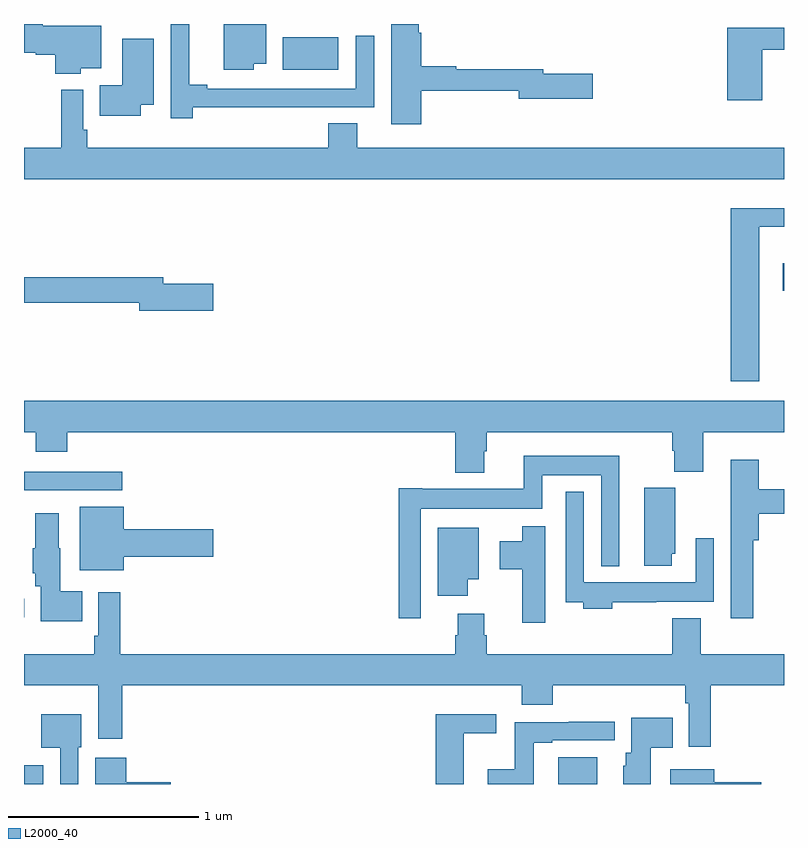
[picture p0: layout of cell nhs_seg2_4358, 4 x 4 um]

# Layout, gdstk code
import gdstk
lib = gdstk.Library(unit=1e-6, precision=1e-09)
def R(c, l, rs):  # rectangles x0, y0, x1, y1
    for r in rs: c.add(gdstk.rectangle(r[:2], r[2:], *l))
def P(c, l, *ps):  # polygons
    for p in ps: c.add(gdstk.Polygon(p, *l))
L2000_40 = (2000, 40)

nhs_seg2_4358 = lib.new_cell('nhs_seg2_4358')
R(nhs_seg2_4358, L2000_40, [(347,629.8,347.101,629.899), (349.811,629.8,350.017,629.941), (347,630.677,347.002,630.774), (347,631.347,347.518,631.443), (350.994,632.395,351,632.542), (348.362,633.56,348.655,633.73)])
P(nhs_seg2_4358, L2000_40, [(347.888,633.362),(348.518,633.362),(348.518,633.363),(348.843,633.363),(348.843,633.739),(348.747,633.739),(348.747,633.459),(347.965,633.459),(347.965,633.479),(347.87,633.479),(347.87,633.8),(347.772,633.8),(347.772,633.303),(347.888,633.303)],
  [(348.208,633.59),(348.274,633.59),(348.274,633.8),(348.05,633.8),(348.05,633.56),(348.208,633.56)],
  [(347.298,633.566),(347.407,633.566),(347.407,633.79),(347.098,633.79),(347.098,633.8),(347,633.8),(347,633.65),(347.063,633.65),(347.063,633.638),(347.165,633.638),(347.165,633.539),(347.298,633.539)],
  [(349.091,633.45),(349.604,633.45),(349.604,633.407),(349.993,633.407),(349.993,633.537),(349.732,633.537),(349.732,633.563),(349.274,633.563),(349.274,633.578),(349.091,633.578),(349.091,633.755),(349.078,633.755),(349.078,633.8),(348.932,633.8),(348.932,633.273),(349.091,633.273)],
  [(350.885,633.664),(351,633.664),(351,633.78),(350.702,633.78),(350.702,633.399),(350.885,633.399)],
  [(347.614,633.374),(347.683,633.374),(347.683,633.722),(347.516,633.722),(347.516,633.478),(347.398,633.478),(347.398,633.317),(347.614,633.317)],
  [(351,633.148),(348.754,633.148),(348.754,633.278),(348.602,633.278),(348.602,633.148),(347.333,633.148),(347.333,633.244),(347.313,633.244),(347.313,633.454),(347.197,633.454),(347.197,633.148),(347,633.148),(347,632.984),(351,632.984)],
  [(350.869,632.732),(351,632.732),(351,632.83),(350.72,632.83),(350.72,631.92),(350.869,631.92)],
  [(347.995,632.432),(347.734,632.432),(347.734,632.468),(347,632.468),(347,632.332),(347.606,632.332),(347.606,632.29),(347.995,632.29)],
  [(349.423,631.551),(349.436,631.551),(349.436,631.652),(350.411,631.652),(350.411,631.553),(350.423,631.553),(350.423,631.444),(350.576,631.444),(350.576,631.652),(351,631.652),(351,631.816),(347,631.816),(347,631.652),(347.063,631.652),(347.063,631.55),(347.228,631.55),(347.228,631.652),(349.271,631.652),(349.271,631.439),(349.423,631.439)],
  [(349.089,631.25),(349.728,631.25),(349.728,631.424),(350.037,631.424),(350.037,630.947),(350.134,630.947),(350.134,631.528),(349.631,631.528),(349.631,631.354),(349.096,631.354),(349.096,631.357),(348.973,631.357),(348.973,630.672),(349.089,630.672)],
  [(350.837,631.082),(350.867,631.082),(350.867,631.222),(351,631.222),(351,631.351),(350.867,631.351),(350.867,631.507),(350.72,631.507),(350.72,631.245),(350.721,631.245),(350.721,630.672),(350.837,630.672)],
  [(350.41,631.011),(350.428,631.011),(350.428,631.359),(350.264,631.359),(350.264,630.948),(350.41,630.948)],
  [(350.096,630.756),(350.327,630.756),(350.327,630.758),(350.631,630.758),(350.631,631.093),(350.535,631.093),(350.535,630.862),(349.947,630.862),(349.947,631.339),(349.851,631.339),(349.851,630.756),(349.943,630.756),(349.943,630.722),(350.096,630.722)],
  [(347.524,630.995),(347.995,630.995),(347.995,631.142),(347.524,631.142),(347.524,631.258),(347.294,631.258),(347.294,630.926),(347.524,630.926)],
  [(347.306,630.814),(347.191,630.814),(347.191,631.041),(347.182,631.041),(347.182,631.225),(347.06,631.225),(347.06,631.041),(347.045,631.041),(347.045,630.909),(347.06,630.909),(347.06,630.84),(347.087,630.84),(347.087,630.656),(347.306,630.656)],
  [(349.744,631.156),(349.622,631.156),(349.622,631.078),(349.505,631.078),(349.505,630.931),(349.622,630.931),(349.622,630.648),(349.744,630.648)],
  [(349.336,630.878),(349.393,630.878),(349.393,631.15),(349.178,631.15),(349.178,630.792),(349.336,630.792)],
  [(350.615,630.32),(351,630.32),(351,630.484),(350.563,630.484),(350.563,630.673),(350.411,630.673),(350.411,630.484),(349.436,630.484),(349.436,630.582),(349.423,630.582),(349.423,630.697),(349.283,630.697),(349.283,630.582),(349.271,630.582),(349.271,630.484),(347.507,630.484),(347.507,630.808),(347.391,630.808),(347.391,630.58),(347.371,630.58),(347.371,630.484),(347,630.484),(347,630.32),(347.39,630.32),(347.39,630.039),(347.516,630.039),(347.516,630.32),(349.619,630.32),(349.619,630.218),(349.784,630.218),(349.784,630.32),(350.479,630.32),(350.479,630.224),(350.499,630.224),(350.499,629.997),(350.615,629.997)],
  [(347.286,629.994),(347.302,629.994),(347.302,630.166),(347.09,630.166),(347.09,629.99),(347.19,629.99),(347.19,629.8),(347.286,629.8)],
  [(349.315,630.068),(349.486,630.068),(349.486,630.166),(349.166,630.166),(349.166,629.8),(349.315,629.8)],
  [(350.299,629.99),(350.414,629.99),(350.414,630.148),(350.195,630.148),(350.195,629.964),(350.168,629.964),(350.168,629.895),(350.153,629.895),(350.153,629.8),(350.299,629.8)],
  [(349.683,630.018),(349.78,630.018),(349.78,630.03),(350.11,630.03),(350.11,630.128),(349.867,630.128),(349.867,630.126),(349.582,630.126),(349.582,629.878),(349.44,629.878),(349.44,629.8),(349.683,629.8)],
  [(347.773,629.81),(347.537,629.81),(347.537,629.938),(347.375,629.938),(347.375,629.8),(347.773,629.8)],
  [(350.881,629.81),(350.632,629.81),(350.632,629.878),(350.402,629.878),(350.402,629.8),(350.881,629.8)])

lib.write_gds('nhs_seg2_4358.gds')
